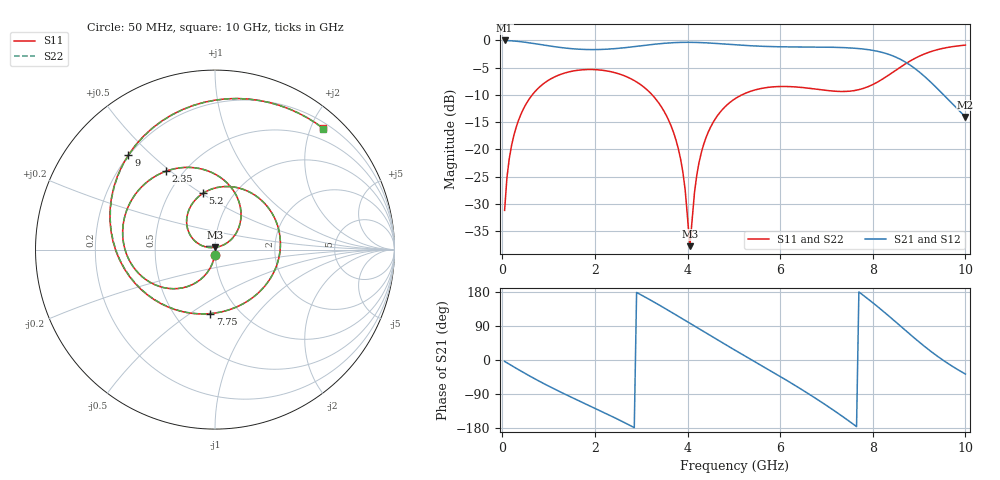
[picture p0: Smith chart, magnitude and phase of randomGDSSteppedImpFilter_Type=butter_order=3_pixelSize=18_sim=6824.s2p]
! freq	dB(S11)	phase(S11)	dB(S12)	phase(S12)
!  dB(S21)	phase(S21)	dB(S22)	phase(S22)
!S-par simulation data
#  GHz  S  DB  R 50
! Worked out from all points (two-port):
!   200 points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, 50 MHz to 10 GHz, reference 50 ohm
!   highest |S21| = -0.01 dB at 50 MHz (marker M1); lowest = -14.0 dB at 10 GHz (marker M2)
!   |S21| within 3 dB of the highest: start of sweep to 8.481 GHz
!   lowest |S11| = -37.8 dB at 4.05 GHz (marker M3), VSWR 1.03, Z = 49.9 + j1.29 ohm
!   |S11| at or under -10 dB: start of sweep to 646.8 MHz; 3.236 GHz to 5.173 GHz (1.937 GHz wide, 46.1 % of centre)
!   |S22| runs from -38.1 to -0.9 dB; largest |S21 - S12| = 0
!   S11 on the Smith chart (normalised r, x): 50 MHz: 1.00, -0.05; 2.35 GHz: 0.40, +0.48; 5.2 GHz: 0.72, +0.51; 7.75 GHz: 0.74, -0.61; 9 GHz: 0.20, +0.43; 10 GHz: 0.29, +2.19
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0.05  -31.19 -93.6  -0.01 -3.7  -0.01 -3.7  -31.20 -93.6
0.2  -19.30 -104.9  -0.08 -14.7  -0.08 -14.7  -19.30 -104.9
0.5  -11.88 -126.4  -0.35 -36.0  -0.35 -36.0  -11.88 -126.4
1.05  -7.05 -162.4  -1.06 -71.9  -1.06 -71.9  -7.05 -162.4
1.75  -5.38 156.6  -1.65 -113.1  -1.65 -113.1  -5.38 156.6
2.35  -5.76 122.2  -1.56 -147.7  -1.56 -147.7  -5.76 122.2
2.9  -7.62 88.8  -1.09 178.2  -1.09 178.2  -7.62 88.7
3.4  -11.75 56.1  -0.60 144.2  -0.60 144.2  -11.75 56.0
3.85  -21.76 29.5  -0.36 111.6  -0.36 111.6  -21.77 29.2
4.05  -37.77 94.4  -0.35 96.8  -0.35 96.8  -38.08 94.4
4.2  -24.70 163.7  -0.37 85.7  -0.37 85.7  -24.71 164.2
4.35  -19.05 158.5  -0.43 74.7  -0.43 74.7  -19.05 158.8
5.05  -10.58 112.5  -0.82 24.2  -0.82 24.2  -10.58 112.6
5.2  -9.89 102.2  -0.90 13.6  -0.90 13.6  -9.89 102.3
5.9  -8.50 53.7  -1.16 -36.1  -1.16 -36.1  -8.50 53.8
6.7  -8.86 -4.7  -1.22 -96.0  -1.22 -96.0  -8.86 -4.6
7.3  -9.37 -53.0  -1.30 -144.9  -1.30 -144.9  -9.38 -53.1
7.75  -8.93 -94.1  -1.54 175.0  -1.54 175.0  -8.93 -94.4
8.35  -6.33 -156.8  -2.58 115.7  -2.58 115.7  -6.33 -157.3
9  -2.92 132.5  -5.76 47.6  -5.76 47.6  -2.91 132.0
9.45  -1.59 89.9  -9.31 5.3  -9.31 5.3  -1.58 89.5
10  -0.86 48.4  -14.05 -37.0  -14.05 -37.0  -0.86 48.1
